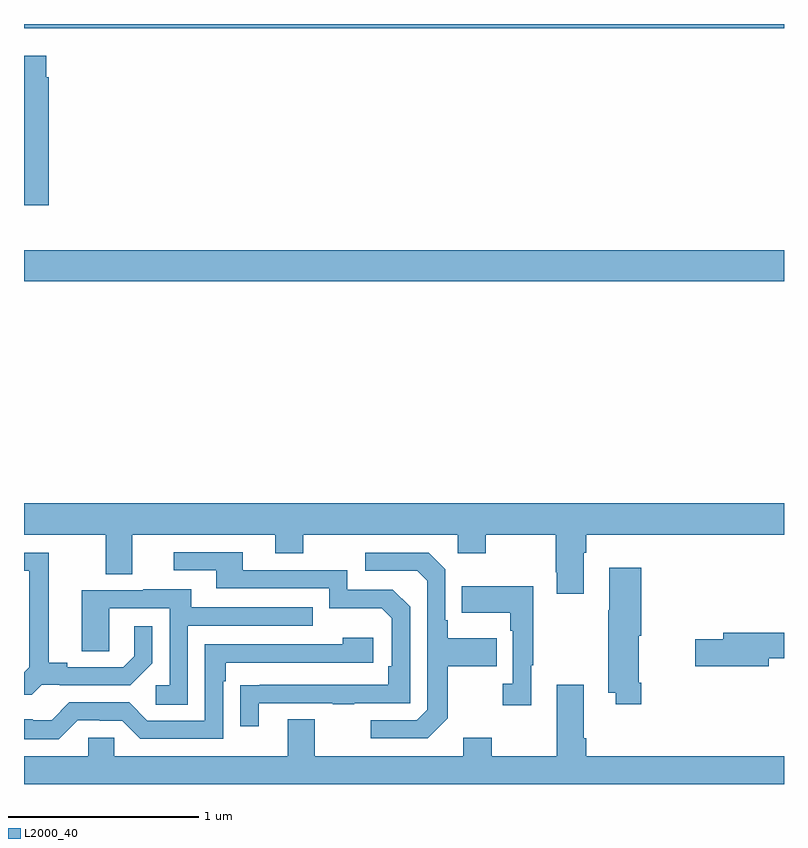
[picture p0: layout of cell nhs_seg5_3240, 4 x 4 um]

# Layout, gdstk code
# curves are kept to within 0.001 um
import gdstk
lib = gdstk.Library(unit=1e-6, precision=1e-09)
def R(c, l, rs):  # rectangles x0, y0, x1, y1
    for r in rs: c.add(gdstk.rectangle(r[:2], r[2:], *l))
def P(c, l, *ps):  # polygons
    for p in ps: c.add(gdstk.Polygon(p, *l))
L2000_40 = (2000, 40)

nhs_seg5_3240 = lib.new_cell('nhs_seg5_3240')
R(nhs_seg5_3240, L2000_40, [(299,839.444,303,839.608), (299,840.776,303,840.799)])
P(nhs_seg5_3240, L2000_40, [(299.129,840.518),(299.116,840.518),(299.116,840.631),(299,840.631),(299,839.844),(299.129,839.844)],
  [(301.945,838.016),(301.958,838.016),(301.958,838.112),(303,838.112),(303,838.276),(299,838.276),(299,838.112),(299.429,838.112),(299.429,837.904),(299.569,837.904),(299.569,838.112),(300.323,838.112),(300.323,838.013),(300.471,838.013),(300.471,838.112),(301.284,838.112),(301.284,838.013),(301.431,838.013),(301.431,838.112),(301.798,838.112),(301.798,837.913),(301.805,837.913),(301.805,837.801),(301.945,837.801)],
  [(300.235,837.225),(300.625,837.225),(300.625,837.22),(300.737,837.22),(300.737,837.225),(301.032,837.225),(301.032,837.732),(300.942,837.822),(300.702,837.822),(300.702,837.924),(300.151,837.924),(300.151,838.02),(299.787,838.02),(299.787,837.924),(300.011,837.924),(300.011,837.828),(300.606,837.828),(300.606,837.725),(300.883,837.725),(300.936,837.672),(300.936,837.418),(300.916,837.418),(300.916,837.321),(300.139,837.32),(300.139,837.102),(300.235,837.102)],
  [(301.231,837.145),(301.231,837.418),(301.487,837.418),(301.487,837.565),(301.231,837.565),(301.231,837.661),(301.218,837.661),(301.218,837.93),(301.131,838.017),(300.795,838.017),(300.795,837.921),(301.071,837.921),(301.122,837.87),(301.122,837.189),(301.068,837.135),(300.825,837.135),(300.825,837.039),(301.125,837.039)],
  [(299.094,837.321),(299.188,837.321),(299.188,837.318),(299.56,837.318),(299.676,837.434),(299.676,837.628),(299.579,837.628),(299.579,837.471),(299.522,837.414),(299.227,837.414),(299.227,837.437),(299.131,837.437),(299.131,838.017),(299,838.017),(299,837.921),(299.027,837.921),(299.027,837.413),(299,837.386),(299,837.269),(299.042,837.269)],
  [(302.249,837.331),(302.236,837.331),(302.236,837.578),(302.249,837.578),(302.249,837.937),(302.081,837.937),(302.081,837.713),(302.074,837.713),(302.074,837.278),(302.114,837.278),(302.114,837.219),(302.249,837.219)],
  [(301.669,837.425),(301.681,837.425),(301.681,837.841),(301.303,837.841),(301.303,837.701),(301.56,837.701),(301.56,837.605),(301.572,837.605),(301.572,837.326),(301.521,837.326),(301.521,837.213),(301.669,837.213)],
  [(299.862,837.633),(300.521,837.633),(300.521,837.729),(299.881,837.729),(299.881,837.823),(299.627,837.823),(299.627,837.819),(299.303,837.819),(299.303,837.499),(299.448,837.499),(299.448,837.723),(299.766,837.723),(299.766,837.318),(299.694,837.318),(299.694,837.217),(299.862,837.217)],
  [(302.92,837.46),(303,837.46),(303,837.596),(302.681,837.596),(302.681,837.56),(302.532,837.56),(302.532,837.418),(302.92,837.418)],
  [(299.283,837.135),(299.399,837.135),(299.399,837.132),(299.517,837.132),(299.613,837.036),(300.048,837.036),(300.048,837.341),(300.061,837.341),(300.061,837.438),(300.838,837.438),(300.838,837.568),(300.677,837.568),(300.677,837.534),(299.952,837.534),(299.952,837.132),(299.649,837.132),(299.553,837.228),(299.238,837.228),(299.145,837.135),(299.045,837.135),(299.045,837.139),(299,837.139),(299,837.035),(299.183,837.035)],
  [(303,836.944),(301.958,836.944),(301.958,837.04),(301.945,837.04),(301.945,837.322),(301.805,837.322),(301.805,836.944),(301.461,836.944),(301.461,837.043),(301.313,837.043),(301.313,836.944),(300.529,836.944),(300.529,837.139),(300.389,837.139),(300.389,836.944),(299.475,836.944),(299.475,837.042),(299.337,837.042),(299.337,836.944),(299,836.944),(299,836.799),(303,836.799)])

lib.write_gds('nhs_seg5_3240.gds')
